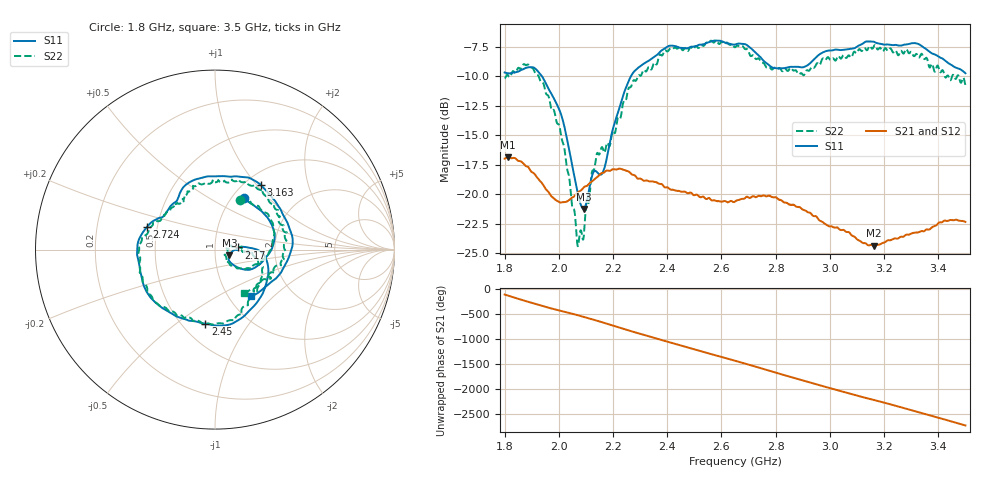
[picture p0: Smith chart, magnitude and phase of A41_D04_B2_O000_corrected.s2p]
! Created with skrf 1.9.0 (http://scikit-rf.org).
# Hz S RI R 50.0
!freq ReS11 ImS11 ReS21 ImS21 ReS12 ImS12 ReS22 ImS22
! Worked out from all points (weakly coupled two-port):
!   1601 points, 1.8 GHz to 3.5 GHz, reference 50 ohm
!   highest |S21| = -16.89 dB at 1.812 GHz (marker M1); lowest = -24.4 dB at 3.163 GHz (marker M2)
!   lowest |S11| = -21.2 dB at 2.091 GHz (marker M3), VSWR 1.19, Z = 58.6 - j3.84 ohm
!   |S11| at or under -10 dB: 1.937 GHz to 2.266 GHz (328.8 MHz wide, 15.6 % of centre)
!   |S22| runs from -24.4 to -7.0 dB; largest |S21 - S12| = 0.0023
!   S11 on the Smith chart (normalised r, x): 1.8 GHz: 1.14, +0.73; 2.17 GHz: 1.30, +0.03; 2.45 GHz: 0.65, -0.65; 2.724 GHz: 0.44, +0.13; 3.163 GHz: 1.18, +1.05; 3.5 GHz: 1.26, -0.73
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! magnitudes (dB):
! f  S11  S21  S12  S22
! 1.8 GHz  -9.7  -17.0  -17.0  -10.2
! 1.812 GHz  -9.8  -16.9  -16.9  -9.9
! 1.882 GHz  -9.3  -17.6  -17.6  -9.0
! 1.942 GHz  -10.2  -19.2  -19.2  -10.6
! 2.011 GHz  -13.5  -20.7  -20.7  -15.4
! 2.067 GHz  -19.6  -19.9  -19.9  -23.9
! 2.084 GHz  -21.0  -19.6  -19.6  -23.2
! 2.091 GHz  -21.2  -19.4  -19.5  -23.7
! 2.13 GHz  -18.0  -18.8  -18.7  -17.9
! 2.17 GHz  -17.7  -18.1  -18.1  -16.4
! 2.204 GHz  -14.1  -17.9  -17.9  -14.8
! 2.261 GHz  -10.2  -18.1  -18.1  -10.9
! 2.367 GHz  -8.1  -19.1  -19.0  -8.5
! 2.45 GHz  -7.6  -19.8  -19.8  -7.6
! 2.65 GHz  -7.3  -20.6  -20.6  -7.6
! 2.724 GHz  -8.0  -20.2  -20.2  -8.5
! 2.798 GHz  -9.3  -20.2  -20.2  -9.3
! 2.934 GHz  -8.8  -21.7  -21.7  -9.2
! 3.163 GHz  -7.1  -24.4  -24.3  -7.4
! 3.217 GHz  -7.3  -23.9  -23.9  -7.8
! 3.324 GHz  -7.3  -23.2  -23.2  -8.3
! 3.5 GHz  -9.8  -22.3  -22.3  -10.8
